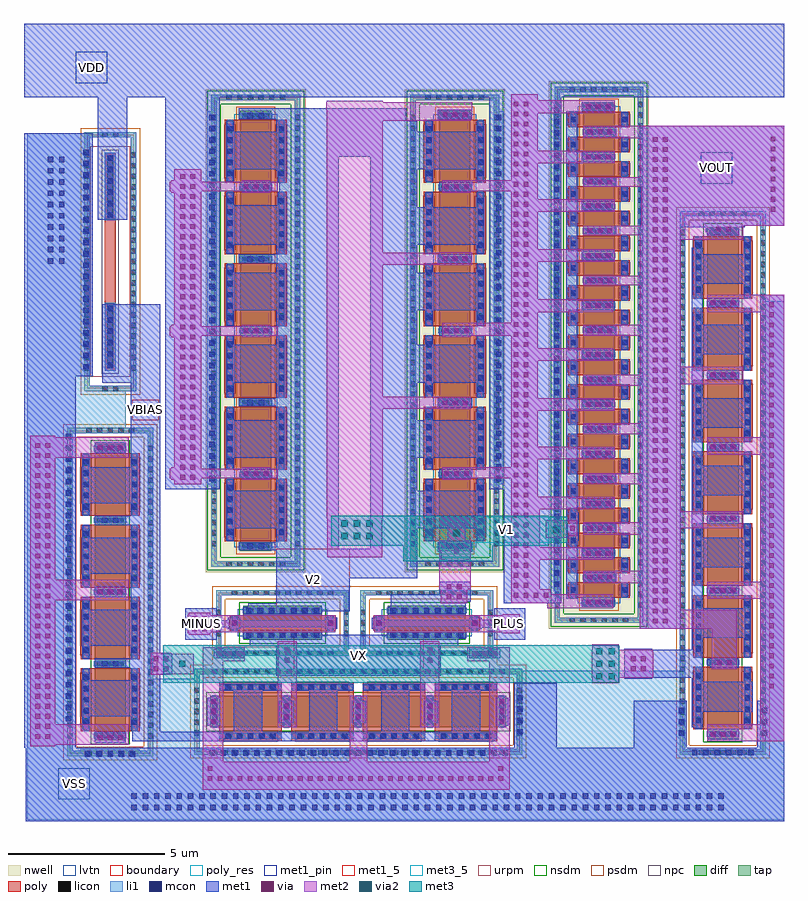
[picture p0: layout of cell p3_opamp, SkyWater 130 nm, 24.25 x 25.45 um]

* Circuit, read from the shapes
.subckt p3_opamp MINUS PLUS V1 V2 VBIAS VDD VOUT VSS VX
XM1 VBIAS VBIAS VSS VSS sky130_fd_pr__nfet_01v8 w=1 l=2 m=4
XM2 VX VBIAS VSS VSS sky130_fd_pr__nfet_01v8 w=1 l=2 m=4
XM3 V2 MINUS VX VSS sky130_fd_pr__nfet_01v8_lvt w=2.5 l=0.5
XM4 V1 PLUS VX VSS sky130_fd_pr__nfet_01v8_lvt w=2.5 l=0.5
XM5 VOUT VBIAS VSS VSS sky130_fd_pr__nfet_01v8 w=1 l=2 m=7
XM6 VDD V2 V2 VDD sky130_fd_pr__pfet_01v8_lvt w=1 l=2 m=6
XM7 VDD V2 V1 VDD sky130_fd_pr__pfet_01v8_lvt w=1 l=2 m=6
XM8 VOUT V1 VDD VDD sky130_fd_pr__pfet_01v8_lvt w=1 l=0.5 m=20
XR9 VDD VBIAS VSS sky130_fd_pr__res_xhigh_po w=0.35 l=2.68
.ends

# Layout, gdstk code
from math import pi, radians
import gdstk
lib = gdstk.Library(unit=1e-6, precision=1e-09)
def R(c, l, rs):  # rectangles x0, y0, x1, y1
    for r in rs: c.add(gdstk.rectangle(r[:2], r[2:], *l))
def A(c, l, x, y, w, h, nx, ny, dx, dy):  # array of equal rectangles
    R(c, l, [(x+i*dx, y+j*dy, x+i*dx+w, y+j*dy+h) for i in range(nx) for j in range(ny)])
nwell = (64, 20)
diff = (65, 20)
tap = (65, 44)
poly_res = (66, 13)
poly = (66, 20)
licon = (66, 44)
li1 = (67, 20)
mcon = (67, 44)
met1_5 = (68, 5)
met1_pin = (68, 16)
met1 = (68, 20)
via = (68, 44)
met2 = (69, 20)
via2 = (69, 44)
met3_5 = (70, 5)
met3 = (70, 20)
urpm = (79, 20)
nsdm = (93, 44)
psdm = (94, 20)
npc = (95, 20)
lvtn = (125, 44)
boundary = (235, 4)

sky130_fd_pr__res_xhigh_ = lib.new_cell('sky130_fd_pr__res_xhigh_po_0p35_5BGKUX')
R(sky130_fd_pr__res_xhigh_, tap, [(-0.825,-4.13,0.825,-3.96), (-0.825,-3.96,-0.655,3.96), (0.655,-3.96,0.825,3.96), (-0.825,3.96,0.825,4.13)])
R(sky130_fd_pr__res_xhigh_, poly_res, [(-0.175,-1.4,0.175,1.4)])
R(sky130_fd_pr__res_xhigh_, poly, [(-0.175,-3.48,0.175,3.48)])
A(sky130_fd_pr__res_xhigh_, licon, -0.825, -3.485, 0.17, 0.17, 1, 21, 0, 0.34)
A(sky130_fd_pr__res_xhigh_, licon, 0.655, -3.485, 0.17, 0.17, 1, 21, 0, 0.34)
R(sky130_fd_pr__res_xhigh_, licon, [(-0.255,-4.13,-0.085,-3.96), (0.085,-4.13,0.255,-3.96), (-0.095,-3.4,0.095,-1.4), (-0.095,1.4,0.095,3.4), (-0.255,3.96,-0.085,4.13), (0.085,3.96,0.255,4.13)])
R(sky130_fd_pr__res_xhigh_, li1, [(-0.825,-4.13,0.825,-3.96), (-0.825,-3.96,-0.655,3.96), (0.655,-3.96,0.825,3.96), (-0.175,-3.48,0.175,-1.32), (-0.175,1.32,0.175,3.48), (-0.825,3.96,0.825,4.13)])
A(sky130_fd_pr__res_xhigh_, mcon, -0.085, -3.385, 0.17, 0.17, 1, 6, 0, 0.36)
A(sky130_fd_pr__res_xhigh_, mcon, -0.085, 1.41, 0.17, 0.17, 1, 6, 0, 0.36)
R(sky130_fd_pr__res_xhigh_, met1, [(-0.125,-3.45,0.125,-1.345), (-0.125,1.345,0.125,3.45)])
R(sky130_fd_pr__res_xhigh_, urpm, [(-0.635,-3.68,0.635,3.68)])
R(sky130_fd_pr__res_xhigh_, psdm, [(-0.95,-4.255,0.95,4.255)])
R(sky130_fd_pr__res_xhigh_, npc, [(-0.27,-3.575,0.27,3.575)])
R(sky130_fd_pr__res_xhigh_, boundary, [(-0.74,-4.045,0.74,4.045)])

sky130_fd_pr__pfet_01v8_ = lib.new_cell('sky130_fd_pr__pfet_01v8_lvt_ER3WAW')
R(sky130_fd_pr__pfet_01v8_, nwell, [(-8.735,-1.595,8.735,1.595)])
R(sky130_fd_pr__pfet_01v8_, diff, [(-8.045,-0.5,8.045,0.5)])
R(sky130_fd_pr__pfet_01v8_, tap, [(-8.555,-1.415,8.555,-1.245), (-8.555,-1.245,-8.385,1.245), (8.385,-1.245,8.555,1.245), (-8.555,1.245,8.555,1.415)])
A(sky130_fd_pr__pfet_01v8_, poly, -7.755, -0.985, 0.5, 1.97, 20, 1, 0.79, 0)
A(sky130_fd_pr__pfet_01v8_, licon, -8.075, -1.415, 0.17, 0.17, 48, 2, 0.34, 2.66)
A(sky130_fd_pr__pfet_01v8_, licon, -8.555, -0.935, 0.17, 0.17, 1, 6, 0, 0.34)
A(sky130_fd_pr__pfet_01v8_, licon, 8.385, -0.935, 0.17, 0.17, 1, 6, 0, 0.34)
A(sky130_fd_pr__pfet_01v8_, licon, -7.59, -0.905, 0.17, 0.17, 20, 2, 0.79, 1.64)
A(sky130_fd_pr__pfet_01v8_, licon, -7.985, -0.425, 0.17, 0.17, 21, 3, 0.79, 0.34)
A(sky130_fd_pr__pfet_01v8_, li1, -7.755, -0.905, 0.5, 0.17, 20, 2, 0.79, 1.64)
A(sky130_fd_pr__pfet_01v8_, li1, -7.985, -0.52, 0.17, 1.04, 21, 1, 0.79, 0)
R(sky130_fd_pr__pfet_01v8_, li1, [(-8.555,-1.415,8.555,-1.245), (-8.555,-1.245,-8.385,1.245), (8.385,-1.245,8.555,1.245), (-8.555,1.245,8.555,1.415)])
A(sky130_fd_pr__pfet_01v8_, mcon, -7.59, -0.905, 0.17, 0.17, 20, 2, 0.79, 1.64)
A(sky130_fd_pr__pfet_01v8_, mcon, -7.985, -0.265, 0.17, 0.17, 21, 2, 0.79, 0.36)
A(sky130_fd_pr__pfet_01v8_, met1, -7.735, -0.935, 0.46, 0.23, 20, 2, 0.79, 1.64)
A(sky130_fd_pr__pfet_01v8_, met1, -8.015, -0.5, 0.23, 1, 21, 1, 0.79, 0)
R(sky130_fd_pr__pfet_01v8_, nsdm, [(-8.68,-1.54,8.68,-1.12), (-8.68,-1.12,-8.26,1.12), (8.26,-1.12,8.68,1.12), (-8.68,1.12,8.68,1.54)])
R(sky130_fd_pr__pfet_01v8_, psdm, [(-8.17,-0.625,8.17,0.625)])
A(sky130_fd_pr__pfet_01v8_, npc, -7.69, -1.005, 0.37, 0.37, 20, 2, 0.79, 1.64)
R(sky130_fd_pr__pfet_01v8_, lvtn, [(-7.935,-0.68,7.935,0.68)])
R(sky130_fd_pr__pfet_01v8_, boundary, [(-8.47,-1.33,8.47,1.33)])

sky130_fd_pr__nfet_01v8_ = lib.new_cell('sky130_fd_pr__nfet_01v8_WWWVRA')
R(sky130_fd_pr__nfet_01v8_, diff, [(-8.16,-0.5,8.16,0.5)])
R(sky130_fd_pr__nfet_01v8_, tap, [(-8.67,-1.37,8.67,-1.2), (-8.67,-1.2,-8.5,1.2), (8.5,-1.2,8.67,1.2), (-8.67,1.2,8.67,1.37)])
A(sky130_fd_pr__nfet_01v8_, poly, -7.87, -0.94, 2, 1.88, 7, 1, 2.29, 0)
A(sky130_fd_pr__nfet_01v8_, licon, -8.075, -1.37, 0.17, 0.17, 48, 2, 0.34, 2.57)
A(sky130_fd_pr__nfet_01v8_, licon, -7.635, -0.86, 0.17, 0.17, 5, 2, 0.34, 1.55)
A(sky130_fd_pr__nfet_01v8_, licon, -5.345, -0.86, 0.17, 0.17, 5, 2, 0.34, 1.55)
A(sky130_fd_pr__nfet_01v8_, licon, -3.055, -0.86, 0.17, 0.17, 5, 2, 0.34, 1.55)
A(sky130_fd_pr__nfet_01v8_, licon, -0.765, -0.86, 0.17, 0.17, 5, 2, 0.34, 1.55)
A(sky130_fd_pr__nfet_01v8_, licon, 1.525, -0.86, 0.17, 0.17, 5, 2, 0.34, 1.55)
A(sky130_fd_pr__nfet_01v8_, licon, 3.815, -0.86, 0.17, 0.17, 5, 2, 0.34, 1.55)
A(sky130_fd_pr__nfet_01v8_, licon, 6.105, -0.86, 0.17, 0.17, 5, 2, 0.34, 1.55)
A(sky130_fd_pr__nfet_01v8_, licon, -8.67, -0.765, 0.17, 0.17, 1, 5, 0, 0.34)
A(sky130_fd_pr__nfet_01v8_, licon, 8.5, -0.765, 0.17, 0.17, 1, 5, 0, 0.34)
A(sky130_fd_pr__nfet_01v8_, licon, -8.1, -0.425, 0.17, 0.17, 8, 3, 2.29, 0.34)
A(sky130_fd_pr__nfet_01v8_, li1, -7.87, -0.86, 2, 0.17, 7, 2, 2.29, 1.55)
A(sky130_fd_pr__nfet_01v8_, li1, -8.1, -0.52, 0.17, 1.04, 8, 1, 2.29, 0)
R(sky130_fd_pr__nfet_01v8_, li1, [(-8.67,-1.37,8.67,-1.2), (-8.67,-1.2,-8.5,1.2), (8.5,-1.2,8.67,1.2), (-8.67,1.2,8.67,1.37)])
A(sky130_fd_pr__nfet_01v8_, mcon, -7.675, -0.86, 0.17, 0.17, 5, 2, 0.36, 1.55)
A(sky130_fd_pr__nfet_01v8_, mcon, -5.385, -0.86, 0.17, 0.17, 5, 2, 0.36, 1.55)
A(sky130_fd_pr__nfet_01v8_, mcon, -3.095, -0.86, 0.17, 0.17, 5, 2, 0.36, 1.55)
A(sky130_fd_pr__nfet_01v8_, mcon, -0.805, -0.86, 0.17, 0.17, 5, 2, 0.36, 1.55)
A(sky130_fd_pr__nfet_01v8_, mcon, 1.485, -0.86, 0.17, 0.17, 5, 2, 0.36, 1.55)
A(sky130_fd_pr__nfet_01v8_, mcon, 3.775, -0.86, 0.17, 0.17, 5, 2, 0.36, 1.55)
A(sky130_fd_pr__nfet_01v8_, mcon, 6.065, -0.86, 0.17, 0.17, 5, 2, 0.36, 1.55)
A(sky130_fd_pr__nfet_01v8_, mcon, -8.1, -0.265, 0.17, 0.17, 8, 2, 2.29, 0.36)
A(sky130_fd_pr__nfet_01v8_, met1, -7.85, -0.89, 1.96, 0.23, 7, 2, 2.29, 1.55)
A(sky130_fd_pr__nfet_01v8_, met1, -8.13, -0.5, 0.23, 1, 8, 1, 2.29, 0)
R(sky130_fd_pr__nfet_01v8_, nsdm, [(-8.285,-0.625,8.285,0.625)])
R(sky130_fd_pr__nfet_01v8_, psdm, [(-8.795,-1.495,8.795,-1.075), (-8.795,-1.075,-8.375,1.075), (8.375,-1.075,8.795,1.075), (-8.795,1.075,8.795,1.495)])
A(sky130_fd_pr__nfet_01v8_, npc, -7.735, -0.96, 1.73, 0.37, 7, 2, 2.29, 1.55)
R(sky130_fd_pr__nfet_01v8_, boundary, [(-8.58,-1.28,8.58,1.28)])

c_sky130_fd_pr__nfet_01v8_ = lib.new_cell('sky130_fd_pr__nfet_01v8_VWWVRL')
R(c_sky130_fd_pr__nfet_01v8_, diff, [(-4.725,-0.5,4.725,0.5)])
R(c_sky130_fd_pr__nfet_01v8_, tap, [(-5.235,-1.37,5.235,-1.2), (-5.235,-1.2,-5.065,1.2), (5.065,-1.2,5.235,1.2), (-5.235,1.2,5.235,1.37)])
A(c_sky130_fd_pr__nfet_01v8_, poly, -4.435, -0.94, 2, 1.88, 4, 1, 2.29, 0)
A(c_sky130_fd_pr__nfet_01v8_, licon, -4.675, -1.37, 0.17, 0.17, 28, 2, 0.34, 2.57)
A(c_sky130_fd_pr__nfet_01v8_, licon, -4.2, -0.86, 0.17, 0.17, 5, 2, 0.34, 1.55)
A(c_sky130_fd_pr__nfet_01v8_, licon, -1.91, -0.86, 0.17, 0.17, 5, 2, 0.34, 1.55)
A(c_sky130_fd_pr__nfet_01v8_, licon, 0.38, -0.86, 0.17, 0.17, 5, 2, 0.34, 1.55)
A(c_sky130_fd_pr__nfet_01v8_, licon, 2.67, -0.86, 0.17, 0.17, 5, 2, 0.34, 1.55)
A(c_sky130_fd_pr__nfet_01v8_, licon, -5.235, -0.765, 0.17, 0.17, 1, 5, 0, 0.34)
A(c_sky130_fd_pr__nfet_01v8_, licon, 5.065, -0.765, 0.17, 0.17, 1, 5, 0, 0.34)
A(c_sky130_fd_pr__nfet_01v8_, licon, -4.665, -0.425, 0.17, 0.17, 5, 3, 2.29, 0.34)
A(c_sky130_fd_pr__nfet_01v8_, li1, -4.435, -0.86, 2, 0.17, 4, 2, 2.29, 1.55)
A(c_sky130_fd_pr__nfet_01v8_, li1, -4.665, -0.52, 0.17, 1.04, 5, 1, 2.29, 0)
R(c_sky130_fd_pr__nfet_01v8_, li1, [(-5.235,-1.37,5.235,-1.2), (-5.235,-1.2,-5.065,1.2), (5.065,-1.2,5.235,1.2), (-5.235,1.2,5.235,1.37)])
A(c_sky130_fd_pr__nfet_01v8_, mcon, -4.24, -0.86, 0.17, 0.17, 5, 2, 0.36, 1.55)
A(c_sky130_fd_pr__nfet_01v8_, mcon, -1.95, -0.86, 0.17, 0.17, 5, 2, 0.36, 1.55)
A(c_sky130_fd_pr__nfet_01v8_, mcon, 0.34, -0.86, 0.17, 0.17, 5, 2, 0.36, 1.55)
A(c_sky130_fd_pr__nfet_01v8_, mcon, 2.63, -0.86, 0.17, 0.17, 5, 2, 0.36, 1.55)
A(c_sky130_fd_pr__nfet_01v8_, mcon, -4.665, -0.265, 0.17, 0.17, 5, 2, 2.29, 0.36)
A(c_sky130_fd_pr__nfet_01v8_, met1, -4.415, -0.89, 1.96, 0.23, 4, 2, 2.29, 1.55)
A(c_sky130_fd_pr__nfet_01v8_, met1, -4.695, -0.5, 0.23, 1, 5, 1, 2.29, 0)
R(c_sky130_fd_pr__nfet_01v8_, nsdm, [(-4.85,-0.625,4.85,0.625)])
R(c_sky130_fd_pr__nfet_01v8_, psdm, [(-5.36,-1.495,5.36,-1.075), (-5.36,-1.075,-4.94,1.075), (4.94,-1.075,5.36,1.075), (-5.36,1.075,5.36,1.495)])
A(c_sky130_fd_pr__nfet_01v8_, npc, -4.3, -0.96, 1.73, 0.37, 4, 2, 2.29, 1.55)
R(c_sky130_fd_pr__nfet_01v8_, boundary, [(-5.15,-1.285,5.15,1.285)])

c_sky130_fd_pr__pfet_01v8_ = lib.new_cell('sky130_fd_pr__pfet_01v8_lvt_GW6ZVV')
R(c_sky130_fd_pr__pfet_01v8_, nwell, [(-7.705,-1.595,7.705,1.595)])
R(c_sky130_fd_pr__pfet_01v8_, diff, [(-7.015,-0.5,7.015,0.5)])
R(c_sky130_fd_pr__pfet_01v8_, tap, [(-7.525,-1.415,7.525,-1.245), (-7.525,-1.245,-7.355,1.245), (7.355,-1.245,7.525,1.245), (-7.525,1.245,7.525,1.415)])
A(c_sky130_fd_pr__pfet_01v8_, poly, -6.725, -0.985, 2, 1.97, 6, 1, 2.29, 0)
A(c_sky130_fd_pr__pfet_01v8_, licon, -6.885, -1.415, 0.17, 0.17, 41, 2, 0.34, 2.66)
A(c_sky130_fd_pr__pfet_01v8_, licon, -7.525, -0.935, 0.17, 0.17, 1, 6, 0, 0.34)
A(c_sky130_fd_pr__pfet_01v8_, licon, 7.355, -0.935, 0.17, 0.17, 1, 6, 0, 0.34)
A(c_sky130_fd_pr__pfet_01v8_, licon, -6.49, -0.905, 0.17, 0.17, 5, 2, 0.34, 1.64)
A(c_sky130_fd_pr__pfet_01v8_, licon, -4.2, -0.905, 0.17, 0.17, 5, 2, 0.34, 1.64)
A(c_sky130_fd_pr__pfet_01v8_, licon, -1.91, -0.905, 0.17, 0.17, 5, 2, 0.34, 1.64)
A(c_sky130_fd_pr__pfet_01v8_, licon, 0.38, -0.905, 0.17, 0.17, 5, 2, 0.34, 1.64)
A(c_sky130_fd_pr__pfet_01v8_, licon, 2.67, -0.905, 0.17, 0.17, 5, 2, 0.34, 1.64)
A(c_sky130_fd_pr__pfet_01v8_, licon, 4.96, -0.905, 0.17, 0.17, 5, 2, 0.34, 1.64)
A(c_sky130_fd_pr__pfet_01v8_, licon, -6.955, -0.425, 0.17, 0.17, 7, 3, 2.29, 0.34)
A(c_sky130_fd_pr__pfet_01v8_, li1, -6.725, -0.905, 2, 0.17, 6, 2, 2.29, 1.64)
A(c_sky130_fd_pr__pfet_01v8_, li1, -6.955, -0.52, 0.17, 1.04, 7, 1, 2.29, 0)
R(c_sky130_fd_pr__pfet_01v8_, li1, [(-7.525,-1.415,7.525,-1.245), (-7.525,-1.245,-7.355,1.245), (7.355,-1.245,7.525,1.245), (-7.525,1.245,7.525,1.415)])
A(c_sky130_fd_pr__pfet_01v8_, mcon, -6.53, -0.905, 0.17, 0.17, 5, 2, 0.36, 1.64)
A(c_sky130_fd_pr__pfet_01v8_, mcon, -4.24, -0.905, 0.17, 0.17, 5, 2, 0.36, 1.64)
A(c_sky130_fd_pr__pfet_01v8_, mcon, -1.95, -0.905, 0.17, 0.17, 5, 2, 0.36, 1.64)
A(c_sky130_fd_pr__pfet_01v8_, mcon, 0.34, -0.905, 0.17, 0.17, 5, 2, 0.36, 1.64)
A(c_sky130_fd_pr__pfet_01v8_, mcon, 2.63, -0.905, 0.17, 0.17, 5, 2, 0.36, 1.64)
A(c_sky130_fd_pr__pfet_01v8_, mcon, 4.92, -0.905, 0.17, 0.17, 5, 2, 0.36, 1.64)
A(c_sky130_fd_pr__pfet_01v8_, mcon, -6.955, -0.265, 0.17, 0.17, 7, 2, 2.29, 0.36)
A(c_sky130_fd_pr__pfet_01v8_, met1, -6.705, -0.935, 1.96, 0.23, 6, 2, 2.29, 1.64)
A(c_sky130_fd_pr__pfet_01v8_, met1, -6.985, -0.5, 0.23, 1, 7, 1, 2.29, 0)
R(c_sky130_fd_pr__pfet_01v8_, nsdm, [(-7.65,-1.54,7.65,-1.12), (-7.65,-1.12,-7.23,1.12), (7.23,-1.12,7.65,1.12), (-7.65,1.12,7.65,1.54)])
R(c_sky130_fd_pr__pfet_01v8_, psdm, [(-7.14,-0.625,7.14,0.625)])
A(c_sky130_fd_pr__pfet_01v8_, npc, -6.59, -1.005, 1.73, 0.37, 6, 2, 2.29, 1.64)
R(c_sky130_fd_pr__pfet_01v8_, lvtn, [(-6.905,-0.68,6.905,0.68)])
R(c_sky130_fd_pr__pfet_01v8_, boundary, [(-7.44,-1.33,7.44,1.33)])

c_sky130_fd_pr__nfet_01v8__ = lib.new_cell('sky130_fd_pr__nfet_01v8_lvt_8TELWR')
R(c_sky130_fd_pr__nfet_01v8__, diff, [(-0.54,-1.25,0.54,1.25)])
R(c_sky130_fd_pr__nfet_01v8__, tap, [(-1.05,-2.12,1.05,-1.95), (-1.05,-1.95,-0.88,1.95), (0.88,-1.95,1.05,1.95), (-1.05,1.95,1.05,2.12)])
R(c_sky130_fd_pr__nfet_01v8__, poly, [(-0.25,-1.69,0.25,1.69)])
A(c_sky130_fd_pr__nfet_01v8__, licon, -0.425, -2.12, 0.17, 0.17, 3, 2, 0.34, 4.07)
A(c_sky130_fd_pr__nfet_01v8__, licon, -1.05, -1.615, 0.17, 0.17, 1, 10, 0, 0.34)
A(c_sky130_fd_pr__nfet_01v8__, licon, 0.88, -1.615, 0.17, 0.17, 1, 10, 0, 0.34)
A(c_sky130_fd_pr__nfet_01v8__, licon, -0.48, -1.105, 0.17, 0.17, 1, 7, 0, 0.34)
A(c_sky130_fd_pr__nfet_01v8__, licon, 0.31, -1.105, 0.17, 0.17, 1, 7, 0, 0.34)
R(c_sky130_fd_pr__nfet_01v8__, licon, [(-0.085,-1.61,0.085,-1.44), (-0.085,1.44,0.085,1.61)])
R(c_sky130_fd_pr__nfet_01v8__, li1, [(-1.05,-2.12,1.05,-1.95), (-1.05,-1.95,-0.88,1.95), (0.88,-1.95,1.05,1.95), (-0.25,-1.61,0.25,-1.44), (-0.48,-1.27,-0.31,1.27), (0.31,-1.27,0.48,1.27), (-0.25,1.44,0.25,1.61), (-1.05,1.95,1.05,2.12)])
A(c_sky130_fd_pr__nfet_01v8__, mcon, -0.48, -1.165, 0.17, 0.17, 1, 7, 0, 0.36)
A(c_sky130_fd_pr__nfet_01v8__, mcon, 0.31, -1.165, 0.17, 0.17, 1, 7, 0, 0.36)
R(c_sky130_fd_pr__nfet_01v8__, mcon, [(-0.085,-1.61,0.085,-1.44), (-0.085,1.44,0.085,1.61)])
R(c_sky130_fd_pr__nfet_01v8__, met1, [(-0.23,-1.64,0.23,-1.41), (-0.51,-1.25,-0.28,1.25), (0.28,-1.25,0.51,1.25), (-0.23,1.41,0.23,1.64)])
R(c_sky130_fd_pr__nfet_01v8__, nsdm, [(-0.665,-1.375,0.665,1.375)])
R(c_sky130_fd_pr__nfet_01v8__, psdm, [(-1.175,-2.245,1.175,-1.825), (-1.175,-1.825,-0.755,1.825), (0.755,-1.825,1.175,1.825), (-1.175,1.825,1.175,2.245)])
R(c_sky130_fd_pr__nfet_01v8__, npc, [(-0.185,-1.71,0.185,-1.34), (-0.185,1.34,0.185,1.71)])
R(c_sky130_fd_pr__nfet_01v8__, lvtn, [(-0.43,-1.43,0.43,1.43)])
R(c_sky130_fd_pr__nfet_01v8__, boundary, [(-0.96,-2.03,0.96,2.03)])

p3_opamp = lib.new_cell('p3_opamp')
R(p3_opamp, li1, [(18.35,15.9,42.5,18.05), (18.35,18.05,19.7,18.95), (20.05,18.05,21.95,18.15), (22.3,18.05,23.8,20.4), (24.15,18.05,33.7,18.15), (34.05,18.05,39.3,18.45), (39.45,18.05,41.65,18.15), (41.85,18.05,42.5,18.45), (33.95,18.45,39.35,19.6), (41.75,18.45,42.5,19.6), (18.35,18.95,19.8,28.3), (33.95,19.6,39.3,20.05), (41.85,19.6,42.5,32.45), (34.05,20.05,39.3,20.65), (24.4,21.1,25.2,21.3), (32.55,21.1,33.35,21.3), (35.15,23.2,35.35,38.75), (24.1,26.6,24.4,38.5), (33.25,26.6,33.55,38.5), (18.35,28.3,19.7,28.35), (18.35,28.35,21.5,29.7), (18.35,29.7,20.25,30.05), (18.35,30.05,20.3,30.2), (18.35,30.2,20.35,37.35), (18.35,37.35,20.3,37.8)])
A(p3_opamp, mcon, 21.68, 16.21, 0.17, 0.17, 53, 2, 0.36, 0.36)
A(p3_opamp, mcon, 20.195, 17.915, 0.17, 0.17, 5, 1, 0.36, 0)
A(p3_opamp, mcon, 24.16, 17.94, 0.17, 0.17, 27, 1, 0.36, 0)
A(p3_opamp, mcon, 39.565, 17.965, 0.17, 0.17, 6, 1, 0.36, 0)
A(p3_opamp, mcon, 39.14, 18.58, 0.17, 0.17, 1, 3, 0, 0.36)
A(p3_opamp, mcon, 41.79, 18.58, 0.17, 0.17, 1, 3, 0, 0.36)
A(p3_opamp, mcon, 33.99, 18.625, 0.17, 0.17, 1, 4, 0, 0.36)
A(p3_opamp, mcon, 19.59, 19.04, 0.17, 0.17, 1, 26, 0, 0.36)
A(p3_opamp, mcon, 35.165, 23.33, 0.17, 0.17, 1, 43, 0, 0.36)
A(p3_opamp, mcon, 24.165, 26.705, 0.17, 0.17, 1, 33, 0, 0.36)
A(p3_opamp, mcon, 33.315, 26.705, 0.17, 0.17, 1, 33, 0, 0.36)
A(p3_opamp, mcon, 20.14, 30.27, 0.17, 0.17, 1, 20, 0, 0.36)
A(p3_opamp, mcon, 19.01, 33.645, 0.17, 0.17, 1, 10, 0, 0.36)
A(p3_opamp, mcon, 19.37, 33.645, 0.17, 0.17, 1, 10, 0, 0.36)
R(p3_opamp, mcon, [(24.535,21.115,24.705,21.285), (24.895,21.115,25.065,21.285), (32.685,21.115,32.855,21.285), (33.045,21.115,33.215,21.285)])
R(p3_opamp, met1_5, [(26.85,20.5,31,21.8), (26.3,22.55,28.65,24.55), (21.7,28.65,22.55,29.3)])
R(p3_opamp, met1_pin, [(19.35,16.55,20.35,17.55), (23.4,21.65,24.4,22.65), (33.25,21.65,34.25,22.65), (39.85,36.2,40.85,37.2), (19.9,39.4,20.9,40.4)])
A(p3_opamp, met1, 26.4, 19, 0.45, 0.7, 3, 1, 2.3, 0)
A(p3_opamp, met1, 36.05, 24.25, 1.05, 0.3, 1, 3, 0, 1.6)
A(p3_opamp, met1, 31.45, 24.45, 1.1, 0.3, 1, 4, 0, 4.6)
A(p3_opamp, met1, 36.1, 25.05, 1.05, 0.3, 1, 3, 0, 1.6)
A(p3_opamp, met1, 40.05, 27.65, 1, 0.3, 1, 3, 0, 2.3)
A(p3_opamp, met1, 36.1, 31.35, 1.05, 0.3, 1, 3, 0, 1.6)
A(p3_opamp, met1, 36.05, 32.15, 1.05, 0.3, 1, 3, 0, 1.6)
R(p3_opamp, met1, [(18.3,15.85,42.5,18.2), (18.25,18.2,19.9,30.05), (33.9,18.2,35.25,20.25), (37.7,18.2,39.4,19.7), (41.65,18.2,42.5,19.7), (20.5,18.35,21.5,18.7), (21.7,18.4,33.3,18.7), (40.05,18.45,41.05,18.8), (21.7,18.7,22.6,18.75), (24.95,18.7,25.85,20.2), (27.35,18.7,28.25,20.2), (29.65,18.7,30.55,20.2), (31.9,18.7,32.8,20.2), (21.65,18.75,22.6,19.2), (39.55,18.85,39.9,19.35), (24.1,18.9,24.5,19.8), (33.3,18.9,33.7,19.8), (20.1,19.2,22.6,20.35), (39.55,19.35,41.5,20.3), (41.75,19.7,42.5,32.65), (39.55,20.3,39.9,20.43), (21.65,20.35,22.6,20.55), (37.405,20.4,38.295,20.43), (37.405,20.43,39.9,21.32), (26.3,20.5,31.55,21.45), (21.65,20.55,22.98,20.75), (20.5,20.75,22.98,21.05), (40.15,20.75,41.05,21.05), (21.65,21.05,22.98,21.2), (24.3,21.05,25.3,21.35), (32.45,21.05,33.45,21.35), (21.65,21.2,22.6,21.45), (37.405,21.32,38.295,21.35), (39.55,21.32,39.9,21.7), (20.1,21.45,22.6,22.6), (25.45,21.45,32.1,21.8), (23.4,21.65,24.4,22.045), (33.25,21.65,34.25,22.03), (39.55,21.7,41.4,22.65), (24.75,22,25.15,22.045), (27.85,22,28.25,22.045), (29.35,22,29.75,22.05), (32.45,22,32.85,22.03), (37.9,22,39.2,34.8), (32.45,22.03,34.25,22.05), (23.4,22.045,28.25,22.26), (29.35,22.05,34.25,22.275), (23.4,22.26,24.4,22.65), (24.75,22.26,25.15,22.35), (27.85,22.26,28.25,22.35), (29.35,22.275,29.75,22.35), (32.45,22.275,32.85,22.35), (33.25,22.275,34.25,22.65), (25.4,22.45,27.7,22.55), (29.95,22.5,32.35,22.85), (25.4,22.55,28.65,22.8), (21.65,22.6,22.6,23.75), (39.55,22.65,39.9,23.95), (36.05,22.7,37.1,23), (26.3,22.8,28.65,23.6), (33.55,22.8,35.4,26.45), (29.95,22.85,32.5,23.1), (35.55,22.95,35.9,24.8), (20.5,23,21.5,23.35), (40.05,23.05,41.05,23.4), (31.5,23.1,32.5,23.5), (36.1,23.5,37.15,23.8), (26.3,23.6,30.8,24.5), (20.1,23.75,22.6,24.9), (39.55,23.95,41.4,24.9), (31.775,24.17,32.325,24.2), (31.55,24.2,32.5,24.45), (25.1,24.5,30.8,24.55), (25.1,24.55,28.3,24.75), (29.3,24.55,30.8,25.2), (26.3,24.75,28.3,25.2), (31.775,24.75,32.325,24.78), (35.55,24.8,35.95,25.7), (21.65,24.9,22.6,25.3), (39.55,24.9,39.9,26.25), (24.7,25.2,28.3,26.4), (29.3,25.2,32.9,26.4), (20.5,25.3,22.6,25.6), (40.05,25.35,41.05,25.7), (21.65,25.6,22.6,26), (35.55,25.7,35.9,38.5), (20.1,26,22.6,27.15), (39.55,26.25,41.4,27.2), (26.3,26.4,28.3,27.45), (29.3,26.4,30.8,27.45), (22.75,26.45,24.5,38.95), (33.1,26.45,35.4,38.95), (25.15,26.8,26.15,27.1), (31.5,26.8,32.55,27.1), (21.65,27.15,22.6,29.85), (39.55,27.2,39.9,28.4), (24.7,27.45,28.3,28.65), (29.3,27.45,32.9,28.65), (20.5,27.6,21.5,27.95), (39.55,28.4,41.4,29.35), (26.3,28.65,28.3,29.1), (29.3,28.65,30.8,29.85), (36.05,29,37.1,29.3), (25.1,29.1,28.3,29.35), (26.3,29.35,28.3,29.85), (39.55,29.35,39.9,30.75), (36.1,29.8,37.15,30.1), (20.75,29.85,22.6,32.35), (24.7,29.85,28.3,31.05), (29.3,29.85,32.9,31.05), (18.25,30.05,20.45,37.8), (36.05,30.6,37.1,30.9), (39.55,30.75,41.4,31.7), (26.3,31.05,28.3,32.15), (29.3,31.05,30.8,32.15), (25.15,31.35,26.15,31.65), (31.5,31.35,32.55,31.65), (39.55,31.7,39.9,33), (24.7,32.15,28.3,33.35), (29.3,32.15,32.9,33.35), (39.55,33,41.4,33.95), (26.3,33.35,28.3,33.65), (29.3,33.35,30.8,34.25), (25.1,33.65,28.3,33.95), (26.3,33.95,28.3,34.25), (39.55,33.95,39.9,34.15), (24.7,34.25,28.3,35.5), (29.3,34.25,32.9,35.45), (40.15,34.55,41,34.6), (40.1,34.6,41,34.65), (40,34.65,41.05,34.8), (37.9,34.8,41.25,34.85), (37.9,34.85,42.5,38.05), (20.6,35.05,21.55,38.95), (29.3,35.45,30.8,36.65), (26.4,35.5,28.3,36.6), (25.15,35.95,26.15,36.25), (31.5,35.95,32.55,36.25), (36.1,36.1,37.15,36.4), (26.3,36.6,28.3,36.65), (24.7,36.65,28.3,37.05), (29.3,36.65,32.9,37.05), (36.05,36.9,37.1,37.2), (24.7,37.05,32.9,37.85), (36.1,37.7,37.15,38), (26.3,37.85,30.8,38.2), (26.3,38.2,30.45,38.25), (25.1,38.25,30.45,38.6), (36.05,38.5,37.1,38.8), (18.25,38.95,42.5,41.3)])
A(p3_opamp, via, 24.11, 17.14, 0.15, 0.15, 30, 1, 0.32, 0)
A(p3_opamp, via, 20.605, 18.45, 0.15, 0.15, 3, 2, 0.32, 4.65)
A(p3_opamp, via, 18.615, 18.485, 0.15, 0.15, 1, 30, 0, 0.32)
A(p3_opamp, via, 18.935, 18.485, 0.15, 0.15, 1, 30, 0, 0.32)
A(p3_opamp, via, 40.155, 18.55, 0.15, 0.15, 3, 2, 0.32, 4.6)
A(p3_opamp, via, 24.225, 18.955, 0.15, 0.15, 1, 3, 0, 0.32)
A(p3_opamp, via, 33.425, 18.955, 0.15, 0.15, 1, 3, 0, 0.32)
A(p3_opamp, via, 26.55, 19.115, 0.15, 0.15, 3, 2, 2.3, 0.32)
A(p3_opamp, via, 42.025, 20.095, 0.15, 0.15, 1, 39, 0, 0.32)
A(p3_opamp, via, 24.405, 21.125, 0.15, 0.15, 3, 1, 0.32, 0)
A(p3_opamp, via, 32.555, 21.125, 0.15, 0.15, 3, 1, 0.32, 0)
A(p3_opamp, via, 38.315, 22.17, 0.15, 0.15, 1, 49, 0, 0.32)
A(p3_opamp, via, 38.635, 22.17, 0.15, 0.15, 1, 49, 0, 0.32)
A(p3_opamp, via, 36.18, 22.775, 0.15, 0.15, 3, 2, 0.32, 1.55)
A(p3_opamp, via, 33.87, 22.985, 0.15, 0.15, 4, 1, 0.32, 0)
A(p3_opamp, via, 33.87, 23.305, 0.15, 0.15, 1, 49, 0, 0.32)
A(p3_opamp, via, 34.19, 23.305, 0.15, 0.15, 1, 49, 0, 0.32)
A(p3_opamp, via, 36.23, 23.575, 0.15, 0.15, 3, 2, 0.32, 1.55)
A(p3_opamp, via, 40.155, 25.45, 0.15, 0.15, 3, 2, 0.32, 2.275)
A(p3_opamp, via, 36.18, 25.925, 0.15, 0.15, 3, 2, 0.32, 1.6)
A(p3_opamp, via, 36.23, 26.725, 0.15, 0.15, 3, 2, 0.32, 1.6)
A(p3_opamp, via, 23.24, 26.75, 0.15, 0.15, 1, 31, 0, 0.32)
A(p3_opamp, via, 23.56, 26.75, 0.15, 0.15, 1, 31, 0, 0.32)
A(p3_opamp, via, 25.255, 26.875, 0.15, 0.15, 3, 2, 0.32, 4.55)
A(p3_opamp, via, 31.655, 26.875, 0.15, 0.15, 3, 2, 0.32, 4.55)
A(p3_opamp, via, 20.605, 27.7, 0.15, 0.15, 3, 1, 0.32, 0)
A(p3_opamp, via, 36.18, 29.075, 0.15, 0.15, 3, 2, 0.32, 1.6)
A(p3_opamp, via, 31.605, 29.125, 0.15, 0.15, 3, 3, 0.32, 4.6)
A(p3_opamp, via, 36.23, 29.875, 0.15, 0.15, 3, 2, 0.32, 1.55)
A(p3_opamp, via, 40.155, 30.025, 0.15, 0.15, 3, 2, 0.32, 2.3)
A(p3_opamp, via, 36.18, 32.225, 0.15, 0.15, 3, 3, 0.32, 1.6)
A(p3_opamp, via, 36.23, 33.025, 0.15, 0.15, 3, 2, 0.32, 1.6)
A(p3_opamp, via, 42.075, 35.305, 0.15, 0.15, 1, 8, 0, 0.32)
A(p3_opamp, via, 25.255, 36.025, 0.15, 0.15, 3, 1, 0.32, 0)
A(p3_opamp, via, 31.655, 36.025, 0.15, 0.15, 3, 1, 0.32, 0)
A(p3_opamp, via, 36.23, 36.175, 0.15, 0.15, 3, 2, 0.32, 1.6)
A(p3_opamp, via, 36.18, 36.975, 0.15, 0.15, 3, 2, 0.32, 1.6)
R(p3_opamp, via, [(24.11,17.46,24.26,17.61), (33.39,17.46,33.54,17.61), (22.39,20.64,22.54,20.79), (22.71,20.64,22.86,20.79), (37.615,20.64,37.765,20.79), (37.935,20.64,38.085,20.79), (40.365,20.825,40.515,20.975), (40.685,20.825,40.835,20.975), (26.575,20.915,26.725,21.065), (31.125,20.915,31.275,21.065), (22.39,20.96,22.54,21.11), (22.71,20.96,22.86,21.11), (37.615,20.96,37.765,21.11), (37.935,20.96,38.085,21.11), (26.575,21.235,26.725,21.385), (31.125,21.235,31.275,21.385), (23.615,21.915,23.765,22.065), (23.935,21.915,24.085,22.065), (33.725,22.08,33.875,22.23), (24.875,22.1,25.025,22.25), (27.975,22.1,28.125,22.25), (29.475,22.1,29.625,22.25), (32.575,22.1,32.725,22.25), (23.615,22.235,23.765,22.385), (23.935,22.235,24.085,22.385), (31.74,22.94,31.89,23.09), (32.06,22.94,32.21,23.09), (31.74,23.26,31.89,23.41), (32.06,23.26,32.21,23.41), (31.975,24.4,32.125,24.55), (35.675,25.125,35.825,25.275), (40.34,34.675,40.49,34.825), (40.66,34.675,40.81,34.825)])
R(p3_opamp, met2, [(23.95,16.85,33.75,17.75), (23.95,17.75,24.6,20.95), (28.65,17.75,29.2,19.85), (33.1,17.75,33.75,20.95), (18.45,18.25,19.25,18.3), (18.45,18.3,21.6,18.95), (40.05,18.4,42.5,18.95), (26.35,18.85,26.95,21.6), (30.9,18.85,31.5,21.6), (18.45,18.95,19.25,22.9), (41.75,18.95,42.5,22.95), (36.385,20.255,37.225,20.43), (36.36,20.43,38.325,21.32), (22.3,20.52,22.95,20.55), (22.3,20.55,23.67,21.2), (40.2,20.7,41,22), (23.95,20.95,25.3,21.4), (32.4,20.95,33.75,21.4), (22.3,21.2,22.95,21.23), (36.385,21.32,37.225,21.495), (23.5,21.8,24.2,21.845), (23.475,21.845,24.2,21.875), (33.525,21.85,34.075,21.88), (23.475,21.875,28.175,21.95), (29.425,21.88,34.075,21.95), (23.475,21.95,28.2,22.4), (29.4,21.95,34.075,22.4), (37.9,22,41,22.6), (23.475,22.4,28.175,22.43), (29.425,22.4,34.075,22.43), (23.475,22.43,24.2,22.46), (33.525,22.43,34.075,22.46), (23.5,22.46,24.2,22.5), (37.9,22.6,39.2,23.45), (34.95,22.65,37.05,22.8), (31.55,22.8,32.4,23.25), (33.8,22.8,37.05,23.1), (18.45,22.9,21.6,23.55), (40.05,22.95,42.5,23.5), (33.8,23.1,35.05,23.25), (31.5,23.25,32.5,24.8), (33.8,23.25,34.7,24.2), (36.1,23.45,39.2,23.85), (41.75,23.5,42.5,27.55), (18.45,23.55,19.25,27.45), (37.9,23.85,39.2,25), (33.8,24.2,37.05,24.6), (27.92,24.27,29.68,25.51), (33.8,24.6,34.7,25.8), (31.775,24.8,32.325,25.37), (34.9,24.9,35.6,24.95), (34.9,24.95,35.9,25.45), (36.1,25,39.2,25.2), (36.1,25.2,41.2,25.4), (37.9,25.4,41.2,25.75), (27.91,25.51,29.69,29.01), (37.9,25.75,39.2,26.6), (33.8,25.8,37.1,26.2), (33.8,26.2,34.65,26.8), (23.05,26.6,23.9,26.75), (36.1,26.6,39.2,26.95), (22.95,26.75,23.9,26.8), (25.2,26.75,26.1,26.8), (31.6,26.75,32.5,26.8), (22.9,26.8,26.35,27.1), (31.6,26.8,34.65,27.15), (37.9,26.95,39.2,28.2), (22.95,27.1,23.9,27.15), (25.2,27.1,26.1,27.15), (23.05,27.15,23.9,31.3), (33.8,27.15,34.65,27.4), (33.8,27.4,37.1,27.8), (18.45,27.45,21.6,28.1), (40.05,27.55,42.5,28.1), (33.8,27.8,34.65,28.95), (18.45,28.1,19.25,28.15), (41.75,28.1,42.5,32.1), (36.1,28.2,39.2,28.55), (37.9,28.55,39.2,29.75), (33.8,28.95,37.1,29.35), (31.5,29,32.5,29.01), (27.91,29.01,32.5,29.39), (33.8,29.35,34.65,30.55), (27.91,29.39,29.69,33.61), (31.5,29.39,32.5,29.4), (36.1,29.75,39.2,29.8), (36.1,29.8,41.2,30.1), (37.9,30.1,41.2,30.35), (37.9,30.35,39.2,31.35), (33.8,30.55,37.05,30.95), (33.8,30.95,34.65,31.35), (22.95,31.3,23.9,31.35), (25.2,31.3,26.1,31.35), (31.6,31.3,32.5,31.35), (22.9,31.35,26.35,31.65), (31.6,31.35,34.65,31.75), (36.1,31.35,39.2,31.7), (22.95,31.65,23.9,31.7), (25.2,31.65,26.1,31.7), (23.05,31.7,23.9,35.9), (37.9,31.7,39.2,32.95), (33.8,31.75,34.65,32.1), (33.8,32.1,37.05,32.5), (40.05,32.1,42.5,32.65), (33.8,32.5,34.65,33.7), (36.1,32.95,39.2,33.25), (37.9,33.25,39.2,34.4), (31.5,33.6,32.5,33.61), (27.91,33.61,32.55,33.99), (33.8,33.7,37.1,34.1), (27.91,33.99,29.69,38.21), (31.5,33.99,32.5,34), (33.8,34.1,34.65,35.3), (37.9,34.4,41.2,34.55), (36.1,34.55,41.2,34.85), (37.95,34.85,42.5,36.1), (33.8,35.3,37.1,35.7), (33.8,35.7,34.65,35.95), (22.95,35.9,23.9,35.95), (25.2,35.9,26.1,35.95), (31.6,35.9,32.5,35.95), (22.9,35.95,26.35,36.25), (31.6,35.95,34.65,36.3), (36.1,36.1,42.5,36.4), (22.95,36.25,23.9,36.3), (25.2,36.25,26.1,36.3), (23.05,36.3,23.9,36.65), (33.8,36.3,34.65,36.85), (37.9,36.4,42.5,37.65), (33.8,36.85,37.1,37.25), (33.8,37.25,34.65,38.45), (36.1,37.65,42.5,38.05), (31.5,38.2,32.5,38.21), (27.91,38.21,32.5,38.25), (27.91,38.25,32.55,38.55), (33.8,38.45,37.1,38.85), (27.9,38.55,32.55,38.8), (27.91,38.8,29.69,38.84), (33.8,38.85,34.65,39.05)])
A(p3_opamp, via2, 36.505, 20.375, 0.2, 0.2, 1, 3, 0, 0.4)
A(p3_opamp, via2, 36.905, 20.375, 0.2, 0.2, 1, 3, 0, 0.4)
A(p3_opamp, via2, 28.375, 24.85, 0.2, 0.2, 3, 2, 0.4, 0.4)
R(p3_opamp, via2, [(23.2,20.775,23.4,20.975), (31.95,24.95,32.15,25.15), (35.125,25.05,35.325,25.25)])
R(p3_opamp, met3_5, [(32.325,24.74,34.99,25.565)])
R(p3_opamp, met3, [(22.7,20.275,37.25,21.475), (30.35,24.15,33.2,24.65), (28.05,24.65,35,24.74), (28.05,24.74,35.565,24.925), (28.05,24.925,35.6,25.375), (28.05,25.375,35.565,25.565), (28.05,25.565,35,25.6)])
R(p3_opamp, psdm, [(24.255,20.845,33.345,21.005), (28.745,21.005,28.855,23.355)])
p3_opamp.add(gdstk.Reference(sky130_fd_pr__res_xhigh_, (21.005,33.71)))
p3_opamp.add(gdstk.Reference(sky130_fd_pr__pfet_01v8_, (36.595,30.735), rotation=3*pi/2))
p3_opamp.add(gdstk.Reference(sky130_fd_pr__nfet_01v8_, (40.55,26.65), rotation=3*pi/2))
p3_opamp.add(gdstk.Reference(c_sky130_fd_pr__nfet_01v8_, (21,23.165), rotation=pi/2))
p3_opamp.add(gdstk.Reference(c_sky130_fd_pr__pfet_01v8_, (31.995,31.505), rotation=pi/2))
p3_opamp.add(gdstk.Reference(c_sky130_fd_pr__pfet_01v8_, (25.645,31.505), rotation=3*pi/2))
p3_opamp.add(gdstk.Reference(c_sky130_fd_pr__nfet_01v8_, (28.915,19.35)))
p3_opamp.add(gdstk.Reference(c_sky130_fd_pr__nfet_01v8__, (26.5,22.18), rotation=pi/2))
p3_opamp.add(gdstk.Reference(c_sky130_fd_pr__nfet_01v8__, (31.1,22.18), rotation=pi/2))
p3_opamp.add(gdstk.Label('VBIAS', (22.125,28.975), layer=68, texttype=5))
p3_opamp.add(gdstk.Label('VX', (28.925,21.15), layer=68, texttype=5))
p3_opamp.add(gdstk.Label('V1', (33.657,25.152), layer=70, texttype=5))
p3_opamp.add(gdstk.Label('V2', (27.475,23.55), layer=68, texttype=5))
p3_opamp.add(gdstk.Label('VDD', (20.4,39.9), layer=68, texttype=5))
p3_opamp.add(gdstk.Label('VSS', (19.85,17.05), layer=68, texttype=5))
p3_opamp.add(gdstk.Label('PLUS', (33.75,22.15), layer=68, texttype=5))
p3_opamp.add(gdstk.Label('MINUS', (23.9,22.15), layer=68, texttype=5))
p3_opamp.add(gdstk.Label('VOUT', (40.35,36.7), layer=68, texttype=5))

lib.write_gds('p3_opamp.gds')
